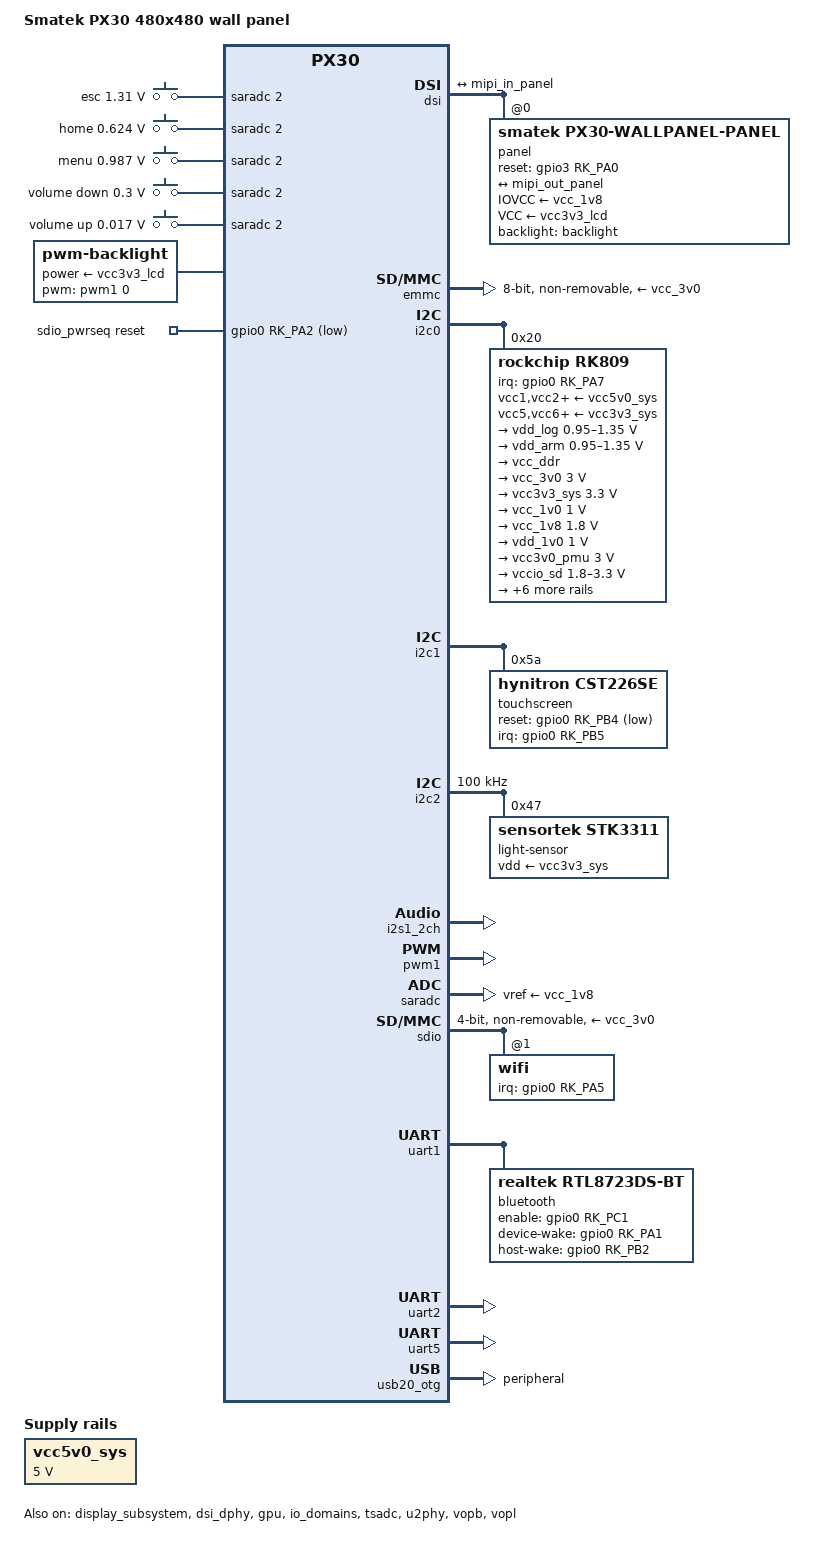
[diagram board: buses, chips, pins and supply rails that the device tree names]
// SPDX-License-Identifier: (GPL-2.0+ OR MIT)
/*
 * Smatek PX30 Home Assistant wall panel (480x480, 4")
 * Android identification: "Rockchip PX30 evb ddr3 board", rockchip,px30-evb-ddr3-v10
 *
 * Derived from the live Android DTB (dts/android-live.dts, audit 10-11-2026)
 * and mainline px30-evb.dts. Every deviation from the EVB is marked "PANEL:".
 *
 * Open points (see docs/hardware.md):
 *  - display: mainline panel-sitronix-st7701 does not have this init sequence
 *    -> own compatible + patch (kernel/st7701-smatek.patch)
 *  - touch CST226SE: handled by mainline hynitron_cstxxx (cst3xx protocol)
 *  - STK3x3x: exact chip ID (reg 0x3e) not read yet
 *  - uart4: connected to unknown peripherals (RS485 in the factory test app)
 *  - mbi5041 LED driver on bit-banged gpio3 (function unknown)
 */

/dts-v1/;
#include <dt-bindings/gpio/gpio.h>
#include <dt-bindings/input/input.h>
#include <dt-bindings/interrupt-controller/irq.h>
#include <dt-bindings/pinctrl/rockchip.h>
#include "px30.dtsi"

/ {
	model = "Smatek PX30 480x480 wall panel";
	compatible = "smatek,px30-wallpanel", "rockchip,px30";

	/* ramoops: identical to Android (0x110000, 960 KiB, same layout), so that
	 * Android shows our kernel log in /sys/fs/pstore after a warm reboot */
	reserved-memory {
		#address-cells = <2>;
		#size-cells = <2>;
		ranges;

		ramoops@110000 {
			compatible = "ramoops";
			reg = <0x0 0x110000 0x0 0xf0000>;
			record-size = <0x20000>;
			console-size = <0x80000>;
			pmsg-size = <0x50000>;
			ftrace-size = <0x0>;
		};
	};

	aliases {
		mmc0 = &emmc;
		mmc1 = &sdio;
		serial2 = &uart2;
	};

	chosen {
		/* Android: earlyprintk at 0xff160000 = uart2, m0 pins (GPIO1_D2/D3) */
		stdout-path = "serial2:1500000n8";
	};

	adc-keys {
		compatible = "adc-keys";
		io-channels = <&saradc 2>;
		io-channel-names = "buttons";
		keyup-threshold-microvolt = <1800000>;
		poll-interval = <100>;

		button-esc {
			label = "esc";
			linux,code = <KEY_ESC>;
			press-threshold-microvolt = <1310000>;
		};

		button-home {
			label = "home";
			linux,code = <KEY_HOME>;
			press-threshold-microvolt = <624000>;
		};

		button-menu {
			label = "menu";
			linux,code = <KEY_MENU>;
			press-threshold-microvolt = <987000>;
		};

		button-down {
			label = "volume down";
			linux,code = <KEY_VOLUMEDOWN>;
			press-threshold-microvolt = <300000>;
		};

		button-up {
			label = "volume up";
			linux,code = <KEY_VOLUMEUP>;
			press-threshold-microvolt = <17000>;
		};
	};

	backlight: backlight {
		compatible = "pwm-backlight";
		/* PANEL: pwm1, 25000 ns = 40 kHz (Android: pwms = <&pwm1 0 25000 0>) */
		pwms = <&pwm1 0 25000 0>;
		power-supply = <&vcc3v3_lcd>;
		brightness-levels = <0 255>;
		num-interpolated-steps = <255>;
		default-brightness-level = <200>;
	};

	sdio_pwrseq: sdio-pwrseq {
		compatible = "mmc-pwrseq-simple";
		clocks = <&rk809 1>;
		clock-names = "ext_clock";
		pinctrl-names = "default";
		pinctrl-0 = <&wifi_enable_h>;
		reset-gpios = <&gpio0 RK_PA2 GPIO_ACTIVE_LOW>;
	};

	vcc5v0_sys: regulator-vccsys {
		compatible = "regulator-fixed";
		regulator-name = "vcc5v0_sys";
		regulator-always-on;
		regulator-boot-on;
		regulator-min-microvolt = <5000000>;
		regulator-max-microvolt = <5000000>;
	};

	sound {
		compatible = "simple-audio-card";
		simple-audio-card,name = "rk809";
		simple-audio-card,format = "i2s";
		simple-audio-card,mclk-fs = <256>;
		simple-audio-card,widgets =
			"Microphone", "Mic Jack",
			"Headphone", "Headphone Jack";
		/* PANEL: routing from Android; speaker output still to be confirmed */
		simple-audio-card,routing =
			"MICL", "Mic Jack",
			"Headphone Jack", "HPOL",
			"Headphone Jack", "HPOR";

		simple-audio-card,codec {
			sound-dai = <&rk809>;
		};

		simple-audio-card,cpu {
			sound-dai = <&i2s1_2ch>;
		};
	};
};

&cpu0 {
	cpu-supply = <&vdd_arm>;
};

&cpu1 {
	cpu-supply = <&vdd_arm>;
};

&cpu2 {
	cpu-supply = <&vdd_arm>;
};

&cpu3 {
	cpu-supply = <&vdd_arm>;
};

/*
 * Vendor U-Boot leaves aclk_peri_src on CPLL (CLKSEL_CON14 bit 15 = 1).
 * Mainline only knows that mux input as "dummy_cpll" -> the whole peri branch
 * is an orphan with rate 0, and the assigned-clock-rates from px30.dtsi then
 * set the maximum divider: AHB of the peri bus (eMMC, USB OTG, ...) at
 * 96/32 = 3 MHz. Result: dwc2-gadget cannot fill its TX FIFO in time (USB 2.0
 * needs >= 30 MHz AHB) -> Windows "Device Descriptor Request Failed".
 * Fix (same as Android, CLKSEL_CON14 = 0x6705): first switch over to
 * GPLL (1200 MHz), then the normal rates: ACLK 200 MHz, HCLK 150 MHz.
 */
&cru {
	assigned-clocks = <&cru PLL_NPLL>, <&cru ACLK_PERI_SRC>,
		<&cru ACLK_BUS_PRE>, <&cru ACLK_PERI_PRE>,
		<&cru HCLK_BUS_PRE>, <&cru HCLK_PERI_PRE>,
		<&cru PCLK_BUS_PRE>, <&cru SCLK_GPU>;
	assigned-clock-parents = <0>, <&pmucru PLL_GPLL>;
	assigned-clock-rates = <1188000000>, <0>,
		<200000000>, <200000000>,
		<150000000>, <150000000>,
		<100000000>, <200000000>;
};

&display_subsystem {
	status = "okay";
};

&dsi {
	#address-cells = <1>;
	#size-cells = <0>;
	status = "okay";

	ports {
		mipi_out: port@1 {
			reg = <1>;

			mipi_out_panel: endpoint {
				remote-endpoint = <&mipi_in_panel>;
			};
		};
	};

	panel@0 {
		/*
		 * PANEL: Sitronix ST7701(S), 2 lanes, RGB888, 480x480 @ 16 MHz.
		 * Own compatible: the init sequence differs from every panel
		 * that mainline panel-sitronix-st7701 knows today.
		 */
		compatible = "smatek,px30-wallpanel-panel", "sitronix,st7701";
		reg = <0>;
		backlight = <&backlight>;
		IOVCC-supply = <&vcc_1v8>;
		VCC-supply = <&vcc3v3_lcd>;
		/*
		 * Physically active-low (Android: flags 1), but panel-sitronix-st7701
		 * inverts the logic itself (set_value(1) = reset released). The
		 * binding therefore prescribes GPIO_ACTIVE_HIGH; with ACTIVE_LOW the
		 * panel stayed in reset forever (black screen, debug9 11-11-2026).
		 */
		reset-gpios = <&gpio3 RK_PA0 GPIO_ACTIVE_HIGH>;
		pinctrl-names = "default";
		pinctrl-0 = <&lcd_rst>;

		port {
			mipi_in_panel: endpoint {
				remote-endpoint = <&mipi_out_panel>;
			};
		};
	};
};

&dsi_dphy {
	status = "okay";
};

&emmc {
	bus-width = <8>;
	cap-mmc-highspeed;
	mmc-hs200-1_8v;
	non-removable;
	vmmc-supply = <&vcc_3v0>;
	vqmmc-supply = <&vcc_1v8>;
	status = "okay";
};

/* PANEL: no Ethernet PHY fitted (every MDIO phy_id = 0xffff) -> gmac off */

&gpu {
	mali-supply = <&vdd_log>;
	status = "okay";
};

&i2c0 {
	status = "okay";

	rk809: pmic@20 {
		compatible = "rockchip,rk809";
		reg = <0x20>;
		interrupt-parent = <&gpio0>;
		interrupts = <RK_PA7 IRQ_TYPE_LEVEL_LOW>;
		pinctrl-names = "default";
		/*
		 * i2s1_2ch_mclk: GPIO2_C3 carries the codec MCLK (SCLK_I2S1_OUT).
		 * Android muxes it in its codec node; nothing in mainline does
		 * otherwise, and without MCLK the speaker only crackles or distorts.
		 */
		pinctrl-0 = <&pmic_int>, <&i2s1_2ch_mclk>;
		system-power-controller;
		wakeup-source;
		/* clkout2 = 32k LPO for the RTL8723DS (WiFi+BT); Android: ext_clock = <&rk809 1> */
		#clock-cells = <1>;
		clock-output-names = "rk809-clkout1", "rk809-clkout2";
		#sound-dai-cells = <0>;
		clocks = <&cru SCLK_I2S1_OUT>;
		clock-names = "mclk";
		assigned-clocks = <&cru SCLK_I2S1_OUT>;
		assigned-clock-parents = <&cru SCLK_I2S1>;

		vcc1-supply = <&vcc5v0_sys>;
		vcc2-supply = <&vcc5v0_sys>;
		vcc3-supply = <&vcc5v0_sys>;
		vcc4-supply = <&vcc5v0_sys>;
		vcc5-supply = <&vcc3v3_sys>;
		vcc6-supply = <&vcc3v3_sys>;
		vcc7-supply = <&vcc3v3_sys>;
		vcc8-supply = <&vcc3v3_sys>;
		vcc9-supply = <&vcc5v0_sys>;

		regulators {
			vdd_log: DCDC_REG1 {
				regulator-name = "vdd_logic";
				regulator-min-microvolt = <950000>;
				regulator-max-microvolt = <1350000>;
				regulator-ramp-delay = <6001>;
				regulator-always-on;
				regulator-boot-on;

				regulator-state-mem {
					regulator-on-in-suspend;
					regulator-suspend-microvolt = <950000>;
				};
			};

			vdd_arm: DCDC_REG2 {
				regulator-name = "vdd_arm";
				regulator-min-microvolt = <950000>;
				regulator-max-microvolt = <1350000>;
				regulator-ramp-delay = <6001>;
				regulator-always-on;
				regulator-boot-on;

				regulator-state-mem {
					regulator-off-in-suspend;
					regulator-suspend-microvolt = <950000>;
				};
			};

			vcc_ddr: DCDC_REG3 {
				regulator-name = "vcc_ddr";
				regulator-always-on;
				regulator-boot-on;

				regulator-state-mem {
					regulator-on-in-suspend;
				};
			};

			vcc_3v0: DCDC_REG4 {
				regulator-name = "vcc_3v0";
				regulator-min-microvolt = <3000000>;
				regulator-max-microvolt = <3000000>;
				regulator-always-on;
				regulator-boot-on;

				regulator-state-mem {
					regulator-on-in-suspend;
					regulator-suspend-microvolt = <3000000>;
				};
			};

			vcc3v3_sys: DCDC_REG5 {
				regulator-name = "vcc3v3_sys";
				regulator-min-microvolt = <3300000>;
				regulator-max-microvolt = <3300000>;
				regulator-always-on;
				regulator-boot-on;

				regulator-state-mem {
					regulator-on-in-suspend;
					regulator-suspend-microvolt = <3300000>;
				};
			};

			vcc_1v0: LDO_REG1 {
				regulator-name = "vcc_1v0";
				regulator-min-microvolt = <1000000>;
				regulator-max-microvolt = <1000000>;
				regulator-always-on;
				regulator-boot-on;

				regulator-state-mem {
					regulator-on-in-suspend;
					regulator-suspend-microvolt = <1000000>;
				};
			};

			vcc_1v8: LDO_REG2 {
				regulator-name = "vcc1v8_soc";
				regulator-min-microvolt = <1800000>;
				regulator-max-microvolt = <1800000>;
				regulator-always-on;
				regulator-boot-on;

				regulator-state-mem {
					regulator-on-in-suspend;
					regulator-suspend-microvolt = <1800000>;
				};
			};

			vdd_1v0: LDO_REG3 {
				regulator-name = "vcc1v0_soc";
				regulator-min-microvolt = <1000000>;
				regulator-max-microvolt = <1000000>;
				regulator-always-on;
				regulator-boot-on;

				regulator-state-mem {
					regulator-on-in-suspend;
					regulator-suspend-microvolt = <1000000>;
				};
			};

			vcc3v0_pmu: LDO_REG4 {
				regulator-name = "vcc3v0_pmu";
				regulator-min-microvolt = <3000000>;
				regulator-max-microvolt = <3000000>;
				regulator-always-on;
				regulator-boot-on;

				regulator-state-mem {
					regulator-on-in-suspend;
					regulator-suspend-microvolt = <3000000>;
				};
			};

			vccio_sd: LDO_REG5 {
				regulator-name = "vccio_sd";
				regulator-min-microvolt = <1800000>;
				regulator-max-microvolt = <3300000>;
				regulator-always-on;
				regulator-boot-on;

				regulator-state-mem {
					regulator-on-in-suspend;
					regulator-suspend-microvolt = <3300000>;
				};
			};

			/* PANEL: no SD slot; LDO6/7/8/9 (vcc_sd, DVP camera) unused */
			vcc_sd: LDO_REG6 {
				regulator-name = "vcc_sd";
				regulator-min-microvolt = <3300000>;
				regulator-max-microvolt = <3300000>;
			};

			vcc2v8_dvp: LDO_REG7 {
				regulator-name = "vcc2v8_dvp";
				regulator-min-microvolt = <3300000>;
				regulator-max-microvolt = <3300000>;
				/* Android: always-on; keep it on until we know what is connected */
				regulator-always-on;
			};

			vcc1v8_dvp: LDO_REG8 {
				regulator-name = "vcc1v8_dvp";
				regulator-min-microvolt = <1800000>;
				regulator-max-microvolt = <1800000>;
				regulator-always-on;
			};

			vdd1v5_dvp: LDO_REG9 {
				regulator-name = "vdd1v5_dvp1";
				regulator-min-microvolt = <3000000>;
				regulator-max-microvolt = <3000000>;
				regulator-always-on;
			};

			/* PANEL: SWITCH1/2 swapped compared to px30-evb */
			vcc5v0_host: SWITCH_REG1 {
				regulator-name = "vcc5v0_host";
				regulator-always-on;
				regulator-boot-on;
			};

			vcc3v3_lcd: SWITCH_REG2 {
				regulator-name = "vcc3v3_lcd";
				regulator-boot-on;
			};
		};

		rk809_codec: codec {
			rockchip,mic-in-differential;
		};
	};
};

&i2c1 {
	status = "okay";

	/*
	 * PANEL: Hynitron CST226SE (mainline hynitron_cstxxx, cst3xx protocol).
	 * Android: irq = gpio0-13 (level low),
	 * "wake" = gpio0-12 high during operation -> used as reset here (active low).
	 */
	touchscreen@5a {
		/* cst3xx protocol confirmed via i2ctransfer (chkcode 0xcaca5fdc, 480x480) */
		compatible = "hynitron,cst226se", "hynitron,cst340";
		reg = <0x5a>;
		interrupt-parent = <&gpio0>;
		/*
		 * Falling edge: the CST226SE keeps INT low for a while after each
		 * report; level-low re-entered the handler on already
		 * acknowledged data (~30 "cst3xx touch read failure" per tap).
		 */
		interrupts = <RK_PB5 IRQ_TYPE_EDGE_FALLING>;
		reset-gpios = <&gpio0 RK_PB4 GPIO_ACTIVE_LOW>;
		pinctrl-names = "default";
		pinctrl-0 = <&touch_int &touch_rst>;
		touchscreen-size-x = <480>;
		touchscreen-size-y = <480>;
		/*
		 * Controller axes are swapped relative to the display: top-right
		 * reports (7,450), bottom-right (472,466) (touchlog, 11-11-2026).
		 */
		touchscreen-swapped-x-y;
	};
};

&i2c2 {
	status = "okay";
	clock-frequency = <100000>;
	i2c-scl-falling-time-ns = <50>;
	i2c-scl-rising-time-ns = <300>;

	/*
	 * PANEL: Sensortek STK3x3x light + proximity. The exact type (3310/3311/3335)
	 * follows from register 0x3e; mainline stk3310 accepts all three.
	 * Android does not use the IRQ (irq_enable = 0, polling); whether GPIO3_C0
	 * is physically wired is unknown -> only add the interrupt after a test.
	 */
	light-sensor@47 {
		compatible = "sensortek,stk3311";
		reg = <0x47>;
		vdd-supply = <&vcc3v3_sys>;
		/* interrupt-parent = <&gpio3>; */
		/* interrupts = <RK_PC0 IRQ_TYPE_EDGE_FALLING>; */
	};

	/* PANEL: unknown device at 0x3c (Android driver "smatek,tp") - not described */
};

&i2s1_2ch {
	status = "okay";
};

&io_domains {
	status = "okay";
	vccio1-supply = <&vcc_1v8>;
	vccio2-supply = <&vccio_sd>;
	vccio3-supply = <&vcc_3v0>;
	vccio4-supply = <&vcc3v0_pmu>;
	vccio5-supply = <&vcc_3v0>;
	/* vccio6 not set in Android (GMAC domain, unused) */
};

&pinctrl {
	lcd {
		lcd_rst: lcd-rst {
			rockchip,pins = <3 RK_PA0 RK_FUNC_GPIO &pcfg_pull_none>;
		};
	};

	pmic {
		pmic_int: pmic-int {
			rockchip,pins = <0 RK_PA7 RK_FUNC_GPIO &pcfg_pull_up>;
		};
	};

	sdio-pwrseq {
		wifi_enable_h: wifi-enable-h {
			rockchip,pins = <0 RK_PA2 RK_FUNC_GPIO &pcfg_pull_none>;
		};
	};

	touchscreen {
		touch_int: touch-int {
			rockchip,pins = <0 RK_PB5 RK_FUNC_GPIO &pcfg_pull_up>;
		};

		touch_rst: touch-rst {
			rockchip,pins = <0 RK_PB4 RK_FUNC_GPIO &pcfg_pull_none>;
		};
	};

	bluetooth {
		bt_enable: bt-enable {
			rockchip,pins = <0 RK_PC1 RK_FUNC_GPIO &pcfg_pull_none>;
		};

		bt_wake_dev: bt-wake-dev {
			rockchip,pins = <0 RK_PA1 RK_FUNC_GPIO &pcfg_pull_none>;
		};

		bt_wake_host: bt-wake-host {
			rockchip,pins = <0 RK_PB2 RK_FUNC_GPIO &pcfg_pull_down>;
		};
	};

	wifi {
		wifi_host_wake: wifi-host-wake {
			rockchip,pins = <0 RK_PA5 RK_FUNC_GPIO &pcfg_pull_down>;
		};
	};
};

&pmu_io_domains {
	status = "okay";
	pmuio1-supply = <&vcc3v0_pmu>;
	pmuio2-supply = <&vcc3v0_pmu>;
};

&pwm1 {
	status = "okay";
};

&saradc {
	vref-supply = <&vcc_1v8>;
	status = "okay";
};

&sdio {
	/* PANEL: RTL8723DS Wi-Fi (SDIO 024c:d723) -> mainline rtw88_8723ds */
	#address-cells = <1>;
	#size-cells = <0>;
	bus-width = <4>;
	cap-sd-highspeed;
	cap-sdio-irq;
	keep-power-in-suspend;
	non-removable;
	mmc-pwrseq = <&sdio_pwrseq>;
	sd-uhs-sdr104;
	vmmc-supply = <&vcc_3v0>;
	vqmmc-supply = <&vcc_1v8>;
	status = "okay";

	wifi@1 {
		reg = <1>;
		interrupt-parent = <&gpio0>;
		interrupts = <RK_PA5 IRQ_TYPE_LEVEL_HIGH>;
		interrupt-names = "host-wake";
		pinctrl-names = "default";
		pinctrl-0 = <&wifi_host_wake>;
	};
};

&tsadc {
	rockchip,hw-tshut-mode = <1>;
	rockchip,hw-tshut-polarity = <1>;
	status = "okay";
};

&u2phy {
	status = "okay";

	u2phy_host: host-port {
		status = "okay";
	};

	u2phy_otg: otg-port {
		status = "okay";
	};
};

&uart1 {
	/* PANEL: RTL8723DS Bluetooth (Android: uart1 + RTS as GPIO1_C3) */
	/*
	 * Without DMA: with the dw-uart DMA the TX stalls during the firmware
	 * download ("command 0xfc20 tx timeout"), just like on the RK3326
	 * Gameforce Chi (mainline rk3326-gameforce-chi.dts).
	 */
	/delete-property/ dma-names;
	/delete-property/ dmas;
	pinctrl-names = "default";
	pinctrl-0 = <&uart1_xfer &uart1_cts &uart1_rts>;
	uart-has-rtscts;
	status = "okay";

	bluetooth {
		compatible = "realtek,rtl8723ds-bt";
		enable-gpios = <&gpio0 RK_PC1 GPIO_ACTIVE_HIGH>;
		device-wake-gpios = <&gpio0 RK_PA1 GPIO_ACTIVE_HIGH>;
		host-wake-gpios = <&gpio0 RK_PB2 GPIO_ACTIVE_HIGH>;
		pinctrl-names = "default";
		pinctrl-0 = <&bt_enable &bt_wake_dev &bt_wake_host>;
	};
};

&uart2 {
	/* debug console; Android uses m0 (GPIO1_D2/D3) */
	pinctrl-names = "default";
	pinctrl-0 = <&uart2m0_xfer>;
	status = "okay";
};

/*
 * PANEL: uart4 (ff170000) is enabled in Android too, with RTS/CTS. The
 * factory test app uses /dev/ttyS3 and /dev/ttyS4 at 9600 baud for
 * RS485 ("Four85"). GPIO1_D4 (a uart4 pin) is however exported as a sysfs
 * GPIO in Android. Function on this unit unknown -> leave it off.
 */

&uart5 {
	/*
	 * PANEL: Zigbee/Thread module, Silicon Labs EFR32MG13 (TYZS13).
	 * Factory test: /dev/ttyS5 @ 115200. RTS/CTS are muxed (GPIO3_A3/A5)
	 * -> hardware flow control. Used via /dev/ttyThread (udev symlink) by
	 * otbr-agent or the Zigbee TCP bridge (see px30-radio).
	 */
	pinctrl-names = "default";
	pinctrl-0 = <&uart5_xfer &uart5_cts &uart5_rts>;
	uart-has-rtscts;
	status = "okay";
};

&usb20_otg {
	/* OTG port: needed for Loader/Maskrom recovery; under Debian a USB gadget
	 * (NCM network to the PC). No ID pin detection needed. */
	dr_mode = "peripheral";
	status = "okay";
};

/*
 * TEMPORARILY OFF (11-11-2026): the first boot hung completely right after the
 * dwc2 probe, just before EHCI/OHCI (last line 0.437 s "hub 1-0:1.0: 1 port
 * detected"). Android gives these nodes 2 clocks (HCLK_HOST + 0x8b), mainline
 * only HCLK_HOST -> probably a missing (arbiter) clock = bus hang.
 * No known USB host port on this panel; OTG (dwc2) stays on.
 */
&usb_host0_ehci {
	status = "disabled";
};

&usb_host0_ohci {
	status = "disabled";
};

&vopb {
	status = "okay";
};

&vopb_mmu {
	status = "okay";
};

&vopl {
	status = "okay";
};

&vopl_mmu {
	status = "okay";
};
